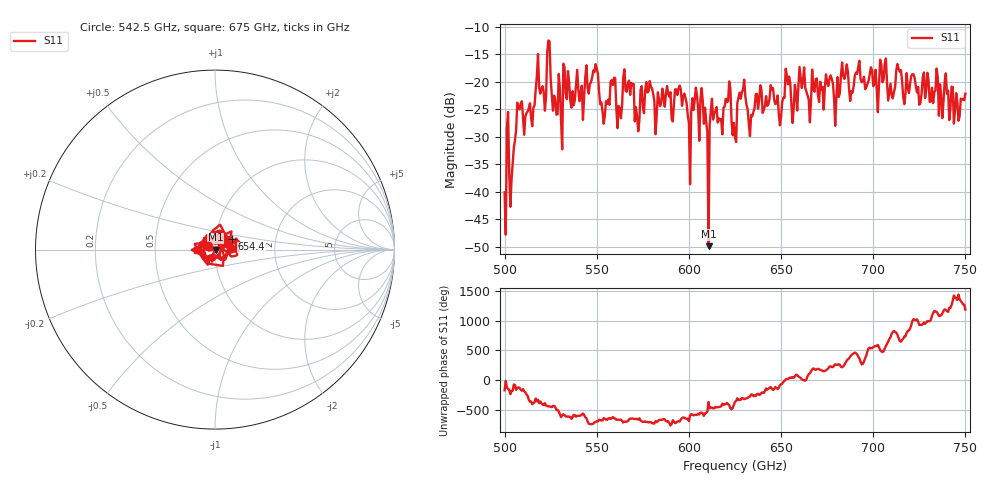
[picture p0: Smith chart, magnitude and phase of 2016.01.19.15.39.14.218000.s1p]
!Created with skrf (http://scikit-rf.org).
# GHz S RI R 50.0
!freq ReS11 ImS11
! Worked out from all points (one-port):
!   401 points, 500 GHz to 750 GHz, reference 50 ohm
!   lowest |S11| = -49.9 dB at 610.6 GHz (marker M1), VSWR 1.01, Z = 50.3 - j0.0578 ohm
!   |S11| at or under -10 dB: start of sweep to end of sweep
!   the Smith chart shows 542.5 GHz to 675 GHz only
!   S11 on the Smith chart (normalised r, x): 542.5 GHz: 0.92, +0.03; 654.4 GHz: 1.20, +0.14; 675 GHz: 0.82, -0.00
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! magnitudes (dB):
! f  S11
! 500 GHz  -40.1
! 503.8 GHz  -37.8
! 508.1 GHz  -25.0
! 515 GHz  -28.1
! 523.8 GHz  -12.5
! 527.5 GHz  -23.3
! 531.2 GHz  -32.3
! 542.5 GHz  -26.9
! 549.4 GHz  -16.8
! 553.1 GHz  -25.3
! 558.8 GHz  -20.6
! 562.5 GHz  -24.9
! 565.6 GHz  -21.6
! 571.9 GHz  -26.3
! 593.8 GHz  -22.4
! 600 GHz  -27.5
! 607.5 GHz  -23.4
! 610.6 GHz  -49.9
! 621.2 GHz  -23.5
! 625 GHz  -30.1
! 628.8 GHz  -21.9
! 633.8 GHz  -26.0
! 654.4 GHz  -19.1
! 656.2 GHz  -27.5
! 675 GHz  -20.0
! 687.5 GHz  -23.5
! 718.8 GHz  -21.1
! 750 GHz  -22.1
